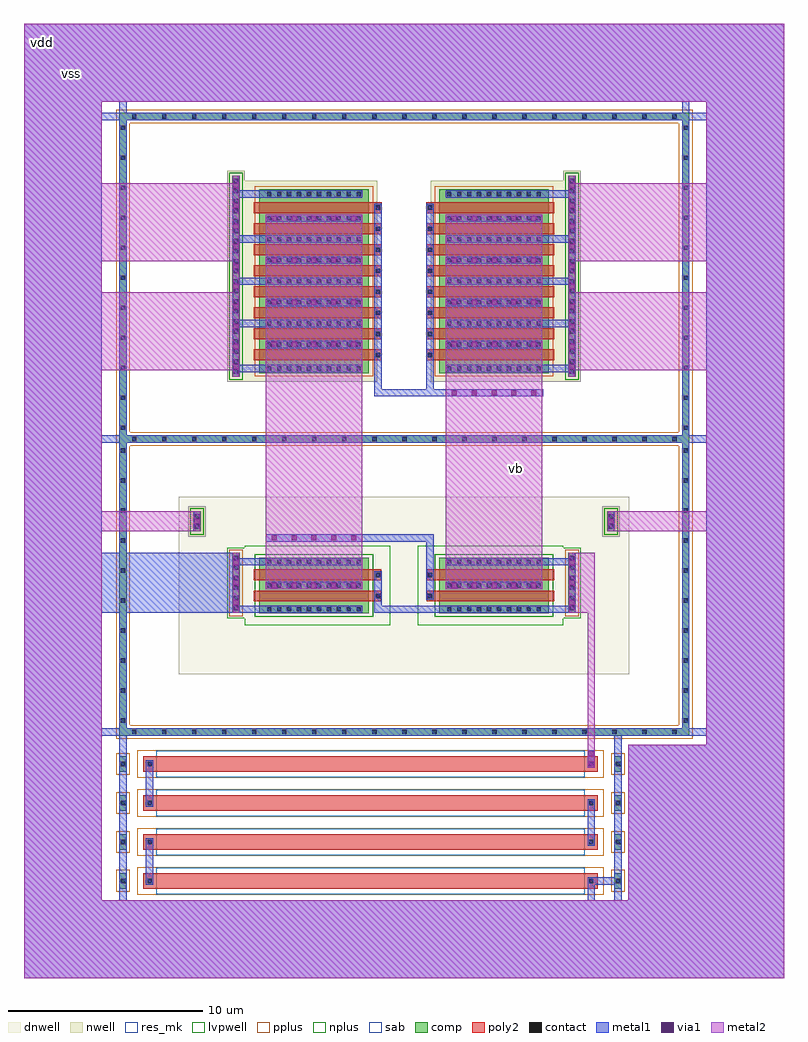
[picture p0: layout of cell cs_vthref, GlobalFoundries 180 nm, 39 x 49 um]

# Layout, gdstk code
from math import pi, radians
import gdstk
lib = gdstk.Library(unit=1e-6, precision=1e-09)
def R(c, l, rs):  # rectangles x0, y0, x1, y1
    for r in rs: c.add(gdstk.rectangle(r[:2], r[2:], *l))
def A(c, l, x, y, w, h, nx, ny, dx, dy):  # array of equal rectangles
    R(c, l, [(x+i*dx, y+j*dy, x+i*dx+w, y+j*dy+h) for i in range(nx) for j in range(ny)])
dnwell = (12, 0)
nwell = (21, 0)
comp = (22, 0)
poly2 = (30, 0)
pplus = (31, 0)
nplus = (32, 0)
contact = (33, 0)
metal1 = (34, 0)
via1 = (35, 0)
metal2 = (36, 0)
sab = (49, 0)
res_mk = (110, 5)
lvpwell = (204, 0)

ppolyf_u_resistor_1 = lib.new_cell('ppolyf_u_resistor$1')
R(ppolyf_u_resistor_1, comp, [(-1.88,0,-1.52,0.8)])
R(ppolyf_u_resistor_1, poly2, [(-0.66,0,22.66,0.8)])
R(ppolyf_u_resistor_1, pplus, [(-0.96,-0.3,22.96,1.1), (-2.04,-0.16,-1.36,0.96)])
R(ppolyf_u_resistor_1, contact, [(-1.81,0.29,-1.59,0.51), (-0.44,0.29,-0.22,0.51), (22.22,0.29,22.44,0.51)])
R(ppolyf_u_resistor_1, metal1, [(-1.89,0.209,-1.51,0.591), (-0.52,0.209,-0.14,0.591), (22.14,0.209,22.52,0.591)])
R(ppolyf_u_resistor_1, sab, [(0,-0.28,22,1.08)])
R(ppolyf_u_resistor_1, res_mk, [(0,0,22,0.8)])

pg_mesh = lib.new_cell('pg_mesh')
R(pg_mesh, metal1, [(-0.5,-0.5,0.5,0.5), (-0.5,-0.5,0.5,0.5)])
R(pg_mesh, metal2, [(-0.5,-0.5,0.5,0.5), (-0.5,-0.5,0.5,0.5)])

nfet = lib.new_cell('nfet')
R(nfet, dnwell, [(-3.55,-3.26,5.57,9.231)])
R(nfet, comp, [(-0.42,0,0,5.6), (0,0,2.02,5.6), (2.02,0,2.44,5.6)])
R(nfet, poly2, [(0.19,-0.3,0.75,5.9), (1.27,-0.3,1.83,5.9), (0.19,5.9,0.75,6.26), (1.27,5.9,1.83,6.26)])
R(nfet, nplus, [(-0.59,-0.24,2.61,5.84)])
A(nfet, contact, -0.32, 0.395, 0.22, 0.22, 3, 10, 1.22, 0.51)
R(nfet, contact, [(0.36,5.97,0.58,6.19), (1.44,5.97,1.66,6.19)])
A(nfet, metal1, -0.4, 0.315, 0.38, 4.97, 3, 1, 1.22, 0)
R(nfet, metal1, [(0.28,5.889,0.66,6.271), (1.36,5.889,1.74,6.271)])
R(nfet, lvpwell, [(-1.04,-0.75,3.06,6.721)])

cnt = lib.new_cell('cnt')
R(cnt, contact, [(-0.11,-0.11,0.11,0.11)])

via1_ = lib.new_cell('via1')
R(via1_, via1, [(-0.13,-0.13,0.13,0.13)])

backgate_p = lib.new_cell('backgate_p')
R(backgate_p, comp, [(-0.19,-0.26,0.19,0.77)])
R(backgate_p, pplus, [(-0.35,-0.42,0.35,0.93)])
R(backgate_p, metal1, [(-0.16,-0.26,0.16,0.77)])
R(backgate_p, metal2, [(-0.16,-0.26,0.16,0.77)])
R(backgate_p, lvpwell, [(-0.45,-0.52,0.45,1.03)])
r = gdstk.Reference(cnt, (0,0)); r.repetition = gdstk.Repetition(1, 2, v1=(0,0), v2=(0,0.51)); backgate_p.add(r)
backgate_p.add(gdstk.Reference(via1_, (0,0.255)))

ptap = lib.new_cell('ptap')
R(ptap, comp, [(-2.093,0.049,-1.733,0.849)])
R(ptap, pplus, [(-2.253,-0.111,-1.573,1.009)])
R(ptap, contact, [(-2.023,0.339,-1.803,0.559)])
R(ptap, metal1, [(-2.103,0.258,-1.723,0.64)])

pfet_1 = lib.new_cell('pfet$1')
R(pfet_1, nwell, [(-0.9,-0.44,9.4,6.04)])
R(pfet_1, comp, [(-0.46,0,0,5.6), (0,0,8.5,5.6), (8.5,0,8.96,5.6)])
A(pfet_1, poly2, 0.19, -0.3, 0.56, 6.2, 8, 1, 1.08, 0)
A(pfet_1, poly2, 0.19, 5.9, 0.56, 0.38, 8, 1, 1.08, 0)
R(pfet_1, pplus, [(-0.63,-0.24,9.13,5.84)])
A(pfet_1, contact, -0.34, 0.395, 0.22, 0.22, 1, 10, 0, 0.51)
A(pfet_1, contact, 0.9, 0.395, 0.22, 0.22, 7, 10, 1.08, 0.51)
A(pfet_1, contact, 8.62, 0.395, 0.22, 0.22, 1, 10, 0, 0.51)
A(pfet_1, contact, 0.36, 5.98, 0.22, 0.22, 8, 1, 1.08, 0)
A(pfet_1, metal1, 0.82, 0.315, 0.38, 4.97, 7, 1, 1.08, 0)
A(pfet_1, metal1, 0.28, 5.899, 0.38, 0.382, 8, 1, 1.08, 0)
R(pfet_1, metal1, [(-0.42,0.315,-0.04,5.285), (8.54,0.315,8.92,5.285)])

tap_psub = lib.new_cell('tap_psub')
R(tap_psub, comp, [(-0.19,-0.77,0.19,0.77)])
R(tap_psub, pplus, [(-0.35,-0.93,0.35,0.93)])
R(tap_psub, contact, [(-0.11,-0.11,0.11,0.11)])
R(tap_psub, metal1, [(-0.19,-0.77,0.19,0.77)])

backgate_n = lib.new_cell('backgate_n')
R(backgate_n, nwell, [(-0.45,-0.52,0.45,1.03)])
R(backgate_n, comp, [(-0.19,-0.26,0.19,0.77)])
R(backgate_n, nplus, [(-0.35,-0.42,0.35,0.93)])
R(backgate_n, contact, [(-0.11,-0.11,0.11,0.11), (-0.11,0.4,0.11,0.62)])
R(backgate_n, metal1, [(-0.16,-0.26,0.16,0.77)])
R(backgate_n, metal2, [(-0.16,-0.26,0.16,0.77)])
backgate_n.add(gdstk.Reference(via1_, (0,0.255)))

m1_source = lib.new_cell('m1_source')
R(m1_source, metal1, [(-0.678,-0.19,0.678,0.19)])

m12_sd = lib.new_cell('m12_sd')
R(m12_sd, metal2, [(-5.186,0.749,-0.216,1.129)])
r = gdstk.Reference(via1_, (-4.741,0.939)); r.repetition = gdstk.Repetition(5, 1, v1=(1.02,0), v2=(0,0)); m12_sd.add(r)

cs_vthref = lib.new_cell('cs_vthref')
R(cs_vthref, dnwell, [(-23.571,-6.895,-20.171,2.226), (-3.829,-6.895,-0.429,2.226)])
R(cs_vthref, nwell, [(-20.171,8.125,-19.861,18.425), (-4.139,8.125,-3.829,18.425)])
R(cs_vthref, metal1, [(-2.581,-11.686,-2.201,-10.782), (-13.532,-3.745,-13.15,-1.605), (-13.532,-3.745,-9.864,-3.365)])
R(cs_vthref, metal2, [(-3.219,-3.745,-2.201,-0.655)])
cs_vthref.add(gdstk.FlexPath([(-29.5,-22.5),(-29.5,24.5),(5.5,24.5),(5.5,-20.5),(-27.5,-20.5)], 4, ends="flush", simple_path=True, layer=34, datatype=0))  # metal1
cs_vthref.add(gdstk.FlexPath([(-13.331,17.245),(-13.331,7.554),(-4.865,7.554)], 0.382, ends="flush", simple_path=True, layer=34, datatype=0))  # metal1
cs_vthref.add(gdstk.FlexPath([(-10.669,17.245),(-10.669,7.363)], 0.382, ends="flush", simple_path=True, layer=34, datatype=0))  # metal1
cs_vthref.add(gdstk.FlexPath([(-19.106,0.104),(-10.659,0.104),(-10.659,-3.065)], 0.382, ends="flush", simple_path=True, layer=34, datatype=0))  # metal1
cs_vthref.add(gdstk.FlexPath([(-1.021,-10.035),(-1.021,-18.7)], 0.38, ends="flush", simple_path=True, layer=34, datatype=0))  # metal1
cs_vthref.add(gdstk.FlexPath([(-27.7,-2.2),(-20.781,-2.2)], 3.09, ends="flush", simple_path=True, layer=34, datatype=0))  # metal1
cs_vthref.add(gdstk.FlexPath([(-26.421,-10.035),(-26.421,-18.7)], 0.38, ends="flush", simple_path=True, layer=34, datatype=0))  # metal1
cs_vthref.add(gdstk.FlexPath([(-25.051,-11.304),(-25.051,-13.686)], 0.38, ends="flush", simple_path=True, layer=34, datatype=0))  # metal1
cs_vthref.add(gdstk.FlexPath([(-25.051,-15.304),(-25.051,-17.686)], 0.38, ends="flush", simple_path=True, layer=34, datatype=0))  # metal1
cs_vthref.add(gdstk.FlexPath([(-2.391,-13.304),(-2.391,-15.686)], 0.38, ends="flush", simple_path=True, layer=34, datatype=0))  # metal1
cs_vthref.add(gdstk.FlexPath([(-2.581,-17.494),(-1.077,-17.494)], 0.38, ends="flush", simple_path=True, layer=34, datatype=0))  # metal1
cs_vthref.add(gdstk.FlexPath([(-27.5,-9.845),(-26.611,-9.845)], 0.38, ends="flush", simple_path=True, layer=34, datatype=0))  # metal1
cs_vthref.add(gdstk.FlexPath([(-27.5,5.175),(-26.611,5.175)], 0.38, ends="flush", simple_path=True, layer=34, datatype=0))  # metal1
cs_vthref.add(gdstk.FlexPath([(-27.5,21.735),(-26.611,21.735)], 0.38, ends="flush", simple_path=True, layer=34, datatype=0))  # metal1
cs_vthref.add(gdstk.FlexPath([(2.649,-9.845),(3.538,-9.845)], 0.38, ends="flush", simple_path=True, layer=34, datatype=0))  # metal1
cs_vthref.add(gdstk.FlexPath([(2.649,5.175),(3.538,5.175)], 0.38, ends="flush", simple_path=True, layer=34, datatype=0))  # metal1
cs_vthref.add(gdstk.FlexPath([(2.649,21.735),(3.538,21.735)], 0.38, ends="flush", simple_path=True, layer=34, datatype=0))  # metal1
cs_vthref.add(gdstk.FlexPath([(-26.421,22.509),(-26.421,21.925)], 0.38, ends="flush", simple_path=True, layer=34, datatype=0))  # metal1
cs_vthref.add(gdstk.FlexPath([(-26.421,22.5),(-26.421,21.925)], 0.38, ends="flush", simple_path=True, layer=34, datatype=0))  # metal1
cs_vthref.add(gdstk.FlexPath([(2.459,22.5),(2.459,21.925)], 0.38, ends="flush", simple_path=True, layer=34, datatype=0))  # metal1
cs_vthref.add(gdstk.FlexPath([(-2.391,-17.304),(-2.391,-18.5)], 0.38, ends="flush", simple_path=True, layer=34, datatype=0))  # metal1
cs_vthref.add(gdstk.FlexPath([(-29.5,-22.5),(-29.5,24.5),(5.5,24.5),(5.5,-20.5),(-27.5,-20.5)], 4, ends="flush", simple_path=True, layer=36, datatype=0))  # metal2
cs_vthref.add(gdstk.FlexPath([(-7.379,16.706),(-7.379,-2.525)], 4.97, ends="flush", simple_path=True, layer=36, datatype=0))  # metal2
cs_vthref.add(gdstk.FlexPath([(-16.621,16.706),(-16.621,-2.525)], 4.97, ends="flush", simple_path=True, layer=36, datatype=0))  # metal2
cs_vthref.add(gdstk.FlexPath([(-27.7,16.3),(-20.781,16.3)], 4, ends="flush", simple_path=True, layer=36, datatype=0))  # metal2
cs_vthref.add(gdstk.FlexPath([(-27.7,10.7),(-20.781,10.7)], 4, ends="flush", simple_path=True, layer=36, datatype=0))  # metal2
cs_vthref.add(gdstk.FlexPath([(-3.219,10.7),(3.7,10.7)], 4, ends="flush", simple_path=True, layer=36, datatype=0))  # metal2
cs_vthref.add(gdstk.FlexPath([(-3.219,16.3),(3.7,16.3)], 4, ends="flush", simple_path=True, layer=36, datatype=0))  # metal2
cs_vthref.add(gdstk.FlexPath([(-2.391,-11.686),(-2.391,-0.655)], 0.38, ends="flush", simple_path=True, layer=36, datatype=0))  # metal2
cs_vthref.add(gdstk.FlexPath([(-1.539,0.951),(3.5,0.951)], 1.03, ends="flush", simple_path=True, layer=36, datatype=0))  # metal2
cs_vthref.add(gdstk.FlexPath([(-27.82,0.951),(-22.781,0.951)], 1.03, ends="flush", simple_path=True, layer=36, datatype=0))  # metal2
r = gdstk.Reference(ppolyf_u_resistor_1, (-24.721,-17.895)); r.repetition = gdstk.Repetition(1, 4, v1=(0,0), v2=(0,2)); cs_vthref.add(r)
r = gdstk.Reference(pg_mesh, (-28,-19), rotation=pi/2); r.repetition = gdstk.Repetition(43, 1, v1=(0,1), v2=(0,0)); cs_vthref.add(r)
r = gdstk.Reference(pg_mesh, (3,-19), rotation=pi/2); r.repetition = gdstk.Repetition(1, 31, v1=(0,0), v2=(-1,0)); cs_vthref.add(r)
r = gdstk.Reference(pg_mesh, (4,-19), rotation=pi/2); r.repetition = gdstk.Repetition(43, 1, v1=(0,1), v2=(0,0)); cs_vthref.add(r)
r = gdstk.Reference(nfet, (-19.421,-3.345), rotation=pi/2, x_reflection=True); r.repetition = gdstk.Repetition(1, 1, v1=(0,0), v2=(0,0)); cs_vthref.add(r)
r = gdstk.Reference(backgate_p, (-20.621,-3.485)); r.repetition = gdstk.Repetition(1, 3, v1=(0,0), v2=(0,1.03)); cs_vthref.add(r)
r = gdstk.Reference(ptap, (-24.508,-17.944)); r.repetition = gdstk.Repetition(2, 4, v1=(25.4,0), v2=(0,2)); cs_vthref.add(r)
r = gdstk.Reference(backgate_p, (-3.379,-3.485)); r.repetition = gdstk.Repetition(1, 3, v1=(0,0), v2=(0,1.03)); cs_vthref.add(r)
cs_vthref.add(gdstk.Reference(pfet_1, (-4.579,9.025), rotation=pi/2))
r = gdstk.Reference(tap_psub, (-26.421,-9.265)); r.repetition = gdstk.Repetition(1, 10, v1=(0,0), v2=(0,1.54)); cs_vthref.add(r)
r = gdstk.Reference(tap_psub, (1.879,-9.845), rotation=pi/2); r.repetition = gdstk.Repetition(1, 19, v1=(0,0), v2=(-1.54,0)); cs_vthref.add(r)
r = gdstk.Reference(tap_psub, (2.459,-9.265)); r.repetition = gdstk.Repetition(1, 10, v1=(0,0), v2=(0,1.54)); cs_vthref.add(r)
r = gdstk.Reference(tap_psub, (1.879,5.175), rotation=pi/2); r.repetition = gdstk.Repetition(1, 19, v1=(0,0), v2=(-1.54,0)); cs_vthref.add(r)
cs_vthref.add(gdstk.Reference(pfet_1, (-19.421,9.025), rotation=pi/2, x_reflection=True))
r = gdstk.Reference(backgate_n, (-3.379,8.645)); r.repetition = gdstk.Repetition(1, 10, v1=(0,0), v2=(0,1.03)); cs_vthref.add(r)
r = gdstk.Reference(backgate_n, (-20.621,8.645)); r.repetition = gdstk.Repetition(1, 10, v1=(0,0), v2=(0,1.03)); cs_vthref.add(r)
r = gdstk.Reference(tap_psub, (-26.421,5.755)); r.repetition = gdstk.Repetition(1, 11, v1=(0,0), v2=(0,1.54)); cs_vthref.add(r)
r = gdstk.Reference(tap_psub, (1.879,21.735), rotation=pi/2); r.repetition = gdstk.Repetition(1, 19, v1=(0,0), v2=(-1.54,0)); cs_vthref.add(r)
r = gdstk.Reference(tap_psub, (2.459,5.755)); r.repetition = gdstk.Repetition(1, 11, v1=(0,0), v2=(0,1.54)); cs_vthref.add(r)
r = gdstk.Reference(pg_mesh, (4,23), rotation=pi/2); r.repetition = gdstk.Repetition(1, 32, v1=(0,0), v2=(-1,0)); cs_vthref.add(r)
r = gdstk.Reference(m1_source, (-4.216,-3.555)); r.repetition = gdstk.Repetition(1, 2, v1=(0,0), v2=(0,2.44)); cs_vthref.add(r)
r = gdstk.Reference(m1_source, (-19.784,-3.555)); r.repetition = gdstk.Repetition(1, 2, v1=(0,0), v2=(0,2.44)); cs_vthref.add(r)
r = gdstk.Reference(m1_source, (-4.216,11.115)); r.repetition = gdstk.Repetition(1, 3, v1=(0,0), v2=(0,2.16)); cs_vthref.add(r)
r = gdstk.Reference(m1_source, (-4.216,8.795)); r.repetition = gdstk.Repetition(1, 2, v1=(0,0), v2=(0,8.96)); cs_vthref.add(r)
r = gdstk.Reference(m1_source, (-19.784,11.115)); r.repetition = gdstk.Repetition(1, 3, v1=(0,0), v2=(0,2.16)); cs_vthref.add(r)
r = gdstk.Reference(m1_source, (-19.784,8.795)); r.repetition = gdstk.Repetition(1, 2, v1=(0,0), v2=(0,8.96)); cs_vthref.add(r)
cs_vthref.add(gdstk.Reference(m12_sd, (-4.678,-3.274)))
cs_vthref.add(gdstk.Reference(m12_sd, (-13.92,-3.274)))
r = gdstk.Reference(m12_sd, (-13.92,9.096)); r.repetition = gdstk.Repetition(1, 4, v1=(0,0), v2=(0,2.16)); cs_vthref.add(r)
r = gdstk.Reference(m12_sd, (-4.678,9.096)); r.repetition = gdstk.Repetition(1, 4, v1=(0,0), v2=(0,2.16)); cs_vthref.add(r)
cs_vthref.add(gdstk.Reference(m12_sd, (-4.678,6.616)))
cs_vthref.add(gdstk.Reference(m12_sd, (-13.92,-0.834)))
r = gdstk.Reference(pg_mesh, (0,-18)); r.repetition = gdstk.Repetition(4, 8, v1=(1,0), v2=(0,1)); cs_vthref.add(r)
cs_vthref.add(gdstk.Reference(backgate_n, (-1.379,0.696)))
r = gdstk.Reference(nfet, (-4.579,-3.345), rotation=pi/2); r.repetition = gdstk.Repetition(1, 1, v1=(0,0), v2=(0,0)); cs_vthref.add(r)
cs_vthref.add(gdstk.Reference(backgate_n, (-22.621,0.696)))
r = gdstk.Reference(via1_, (-2.39,-11.494)); r.repetition = gdstk.Repetition(1, 2, v1=(0,0), v2=(0,0.52)); cs_vthref.add(r)
cs_vthref.add(gdstk.Label('vss', (-29.068,23.925), layer=34, texttype=10))
cs_vthref.add(gdstk.Label('vdd', (-30.529,25.507), layer=36, texttype=10))
cs_vthref.add(gdstk.Label('vb', (-6.245,3.686), layer=36, texttype=10))

lib.write_gds('cs_vthref.gds')
